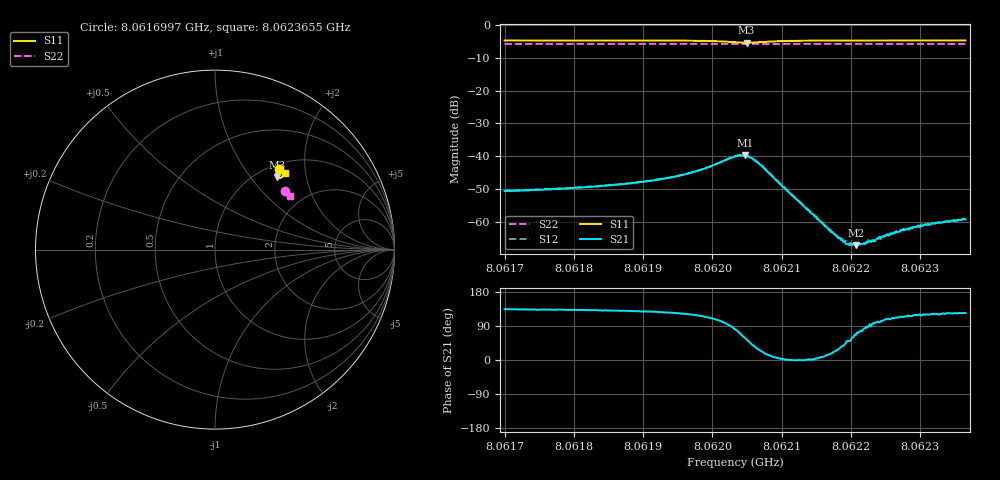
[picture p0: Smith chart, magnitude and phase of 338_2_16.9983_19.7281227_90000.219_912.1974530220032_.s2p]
#  HZ  S  RI  R  50.00
! Rohde & Schwarz Vector Network Analyzer
! Rohde-Schwarz,ZNB20-2Port,1311601062101988,3.16
! Created: UTC 3/20/2024, 11:07:12 PM
! freq[Hz]  re:S11  im:S11  re:S21  im:S21  re:S12  im:S12  re:S22  im:S22
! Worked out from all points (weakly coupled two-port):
!   401 points, 8.0616997 GHz to 8.0623655 GHz, reference 50 ohm
!   highest |S21| = -39.67 dB at 8.0620476 GHz (marker M1); lowest = -67.0 dB at 8.0622074 GHz (marker M2)
!   lowest |S11| = -5.5 dB at 8.0620492 GHz (marker M3), VSWR 3.28, Z = 60.7 + j68.4 ohm
!   |S11| at or under -10 dB: nowhere
!   |S22| runs from -5.9 to -5.8 dB; largest |S21 - S12| = 0.00064
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8.06169968e9  0.3585 0.4507  -0.00206 0.00214  -0.00197 0.0023  0.3917 0.3287
8.06181121e9  0.3661 0.4444  -0.00224 0.00251  -0.00213 0.00266  0.3962 0.3233
8.0618778e9  0.371 0.4394  -0.00247 0.00301  -0.00227 0.00315  0.3985 0.32
8.06192274e9  0.3748 0.435  -0.00263 0.00357  -0.00244 0.0038  0.4002 0.3176
8.06197767e9  0.3795 0.4249  -0.00281 0.00531  -0.00253 0.00547  0.4023 0.3144
8.0620326e9  0.3656 0.3999  0.00149 0.00991  0.00202 0.0099  0.4032 0.3109
8.06203926e9  0.358 0.3991  0.00326 0.0098  0.00385 0.00979  0.403 0.3106
8.06204759e9  0.3479 0.4029  0.00557 0.00876  0.00592 0.00836  0.403 0.3107
8.06204925e9  0.3463 0.4042  0.00584 0.00823  0.00632 0.00808  0.403 0.3104
8.06205757e9  0.3405 0.4134  0.00714 0.00603  0.00744 0.00567  0.403 0.3107
8.06206923e9  0.3407 0.426  0.00679 0.00308  0.00703 0.00278  0.4036 0.3106
8.06214413e9  0.3675 0.4385  0.00133 4.66e-05  0.00136 -3.88e-05  0.4076 0.3073
8.06218242e9  0.3734 0.4363  0.0005 0.000273  0.00053 0.000261  0.4091 0.3055
8.06219241e9  0.3744 0.4356  0.000339 0.000334  0.000401 0.000337  0.4096 0.3048
8.06220073e9  0.3755 0.4351  0.000244 0.000375  0.00029 0.000357  0.41 0.3045
8.06220739e9  0.3761 0.4347  0.000178 0.00041  0.00021 0.000427  0.4102 0.3042
8.06223069e9  0.3784 0.4332  -4.58e-05 0.000513  -4.03e-05 0.000534  0.411 0.303
8.06225566e9  0.3806 0.4318  -0.000186 0.000602  -0.000158 0.00061  0.412 0.3017
8.06226898e9  0.3817 0.4309  -0.000264 0.000663  -0.000225 0.000693  0.4124 0.301
8.06229894e9  0.3839 0.4293  -0.000425 0.000734  -0.000392 0.0008  0.4133 0.2992
8.06232058e9  0.3855 0.428  -0.000519 0.000818  -0.000481 0.000833  0.4143 0.2983
8.06236552e9  0.3887 0.4255  -0.000619 0.000912  -0.000565 0.000982  0.4159 0.2961
